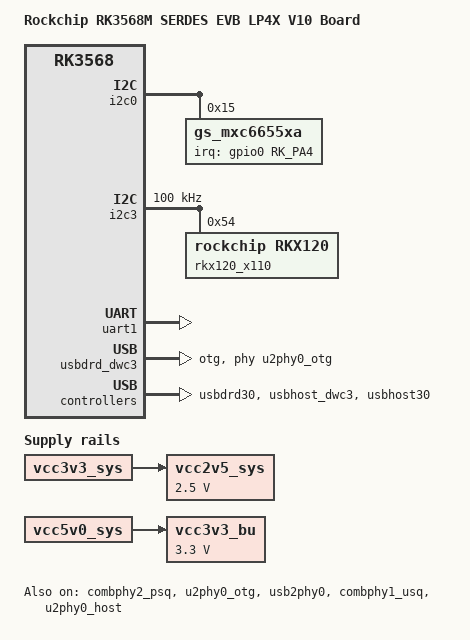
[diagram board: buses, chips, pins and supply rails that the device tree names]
// SPDX-License-Identifier: (GPL-2.0+ OR MIT)
/*
 * Copyright (c) 2023 Rockchip Electronics Co., Ltd.
 *
 */

/dts-v1/;

#include <dt-bindings/gpio/gpio.h>
#include <dt-bindings/pinctrl/rockchip.h>
#include <dt-bindings/mfd/rockchip-serdes.h>
#include "rk3568.dtsi"
#include "rk3568-evb.dtsi"

/ {
	model = "Rockchip RK3568M SERDES EVB LP4X V10 Board";
	compatible = "rockchip,rk3568m-serdes-evb-lp4x-v10", "rockchip,rk3568";

	vcc2v5_sys: vcc2v5-ddr {
		compatible = "regulator-fixed";
		regulator-name = "vcc2v5-sys";
		regulator-always-on;
		regulator-boot-on;
		regulator-min-microvolt = <2500000>;
		regulator-max-microvolt = <2500000>;
		vin-supply = <&vcc3v3_sys>;
	};

	vcc3v3_bu: vcc3v3-bu {
		compatible = "regulator-fixed";
		regulator-name = "vcc3v3_bu";
		regulator-always-on;
		regulator-boot-on;
		regulator-min-microvolt = <3300000>;
		regulator-max-microvolt = <3300000>;
		vin-supply = <&vcc5v0_sys>;
	};
};

/*
 * pin conflict with i2c2 for serdes-debug
 */
&gt1x {
	status = "disabled";
};

&combphy0_us {
	status = "okay";
};

&combphy2_psq {
	status = "okay";
};

&i2c0 {
	status = "okay";

	gs_mxc6655xa: gs_mxc6655xa@15 {
		status = "okay";
		compatible = "gs_mxc6655xa";
		pinctrl-names = "default";
		pinctrl-0 = <&mxc6655xa_irq_gpio>;
		reg = <0x15>;
		irq-gpio = <&gpio0 RK_PA4 IRQ_TYPE_LEVEL_LOW>;
		irq_enable = <0>;
		poll_delay_ms = <30>;
		type = <SENSOR_TYPE_ACCEL>;
		power-off-in-suspend = <1>;
		layout = <1>;
	};
};

&i2c3 {
	status = "okay";
	clock-frequency = <100000>;

	rkx120_x110: rkx120_x110@54 {
		compatible = "rockchip,rkx120";
		reg = <0x54>;
		remote0-addr = <0x55>;
		#address-cells = <1>;
		#size-cells = <0>;
		status = "okay";

		serdes_camera: serdes-camera {
			compatible = "rockchip,serdes-camera";
			reg = <0>;
			status = "okay";
		};
	};
};

&i2c5 {
	status = "disabled";
};

&pinctrl {
	mxc6655xa {
		mxc6655xa_irq_gpio: mxc6655xa_irq_gpio {
			rockchip,pins = <0 RK_PA4 RK_FUNC_GPIO &pcfg_pull_none>;
		};
	};

	serdes {
		rkx120_reset_gpio: rkx120-reset-gpio {
			rockchip,pins = <2 RK_PB0 RK_FUNC_GPIO &pcfg_pull_none>;
		};
	};
};

&pmu_io_domains {
	vccio6-supply = <&vcc_3v3>;
};

&pwm7 {
	status = "disabled";
};

&rk809_codec {
	status = "disabled";
};

&sdmmc0 {
	status = "disabled";
};

&sdmmc2 {
	status = "disabled";
};

&uart1 {
	status = "okay";
	pinctrl-names = "default";
	pinctrl-0 = <&uart1m0_xfer &uart1m0_ctsn>;
};

&wireless_wlan {
	status = "disabled";
};

&wireless_bluetooth {
	status = "disabled";
};

/* OTG0 */
&combphy0_us {
	rockchip,dis-u3otg0-port;
	/* OTG and SATA0 not use combphy0_us, then disabled */
	status = "disabled";
};

&u2phy0_otg {
	vbus-supply = <&vcc5v0_otg>;
	status = "okay";
};

&usb2phy0 {
	status = "okay";
};

&usbdrd_dwc3 {
	dr_mode = "otg";
	phys = <&u2phy0_otg>;
	phy-names = "usb2-phy";
	extcon = <&usb2phy0>;
	maximum-speed = "high-speed";
	snps,dis_u2_susphy_quirk;
	status = "okay";
};

&usbdrd30 {
	status = "okay";
};

/* HOST1 */
&combphy1_usq {
	status = "okay";
};

&u2phy0_host {
	phy-supply = <&vcc5v0_host>;
	status = "okay";
};

&usb2phy0 {
	status = "okay";
};

&usbhost_dwc3 {
	status = "okay";
};

&usbhost30 {
	status = "okay";
};
